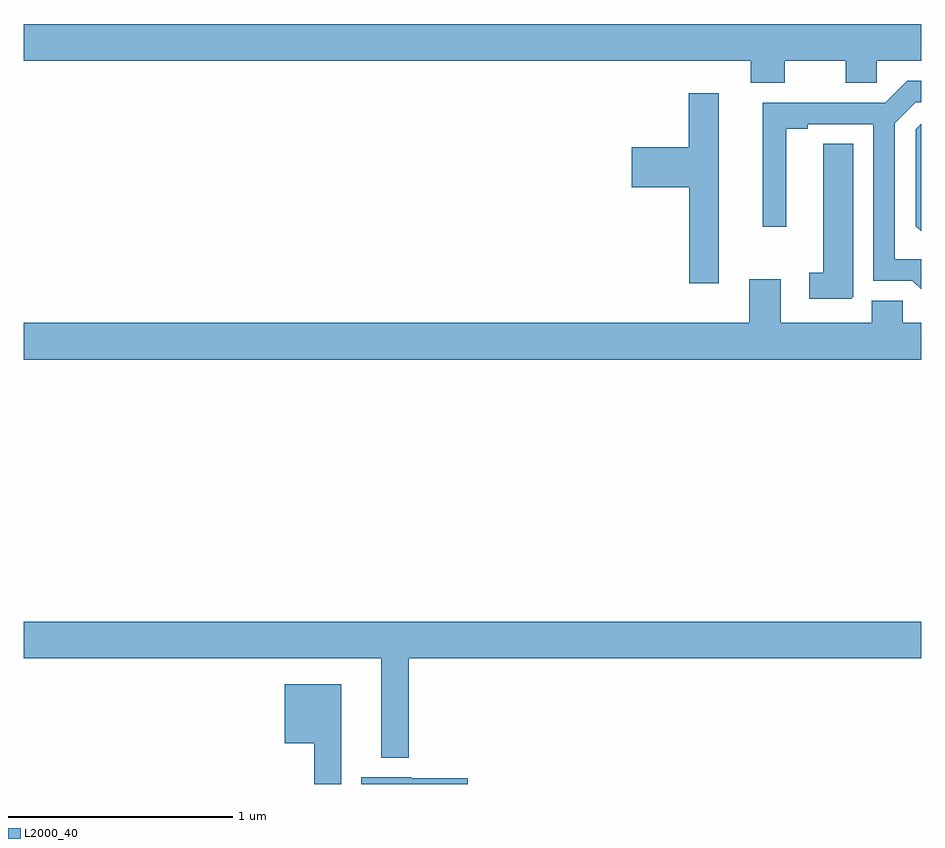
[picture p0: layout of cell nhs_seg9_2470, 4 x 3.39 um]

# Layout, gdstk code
import gdstk
lib = gdstk.Library(unit=1e-6, precision=1e-09)
def P(c, l, *ps):  # polygons
    for p in ps: c.add(gdstk.Polygon(p, *l))
L2000_40 = (2000, 40)

nhs_seg9_2470 = lib.new_cell('nhs_seg9_2470')
P(nhs_seg9_2470, L2000_40, [(254.392,1225.724),(254.663,1225.724),(254.663,1225.626),(254.802,1225.626),(254.802,1225.724),(255,1225.724),(255,1225.888),(251,1225.888),(251,1225.724),(254.24,1225.724),(254.24,1225.625),(254.392,1225.625)],
  [(255,1224.839),(254.883,1224.839),(254.883,1225.446),(254.976,1225.539),(255,1225.539),(255,1225.635),(254.939,1225.635),(254.84,1225.536),(254.294,1225.536),(254.294,1224.984),(254.398,1224.984),(254.398,1225.42),(254.494,1225.42),(254.494,1225.44),(254.787,1225.44),(254.787,1224.744),(254.961,1224.744),(255,1224.705)],
  [(254.098,1225.579),(253.964,1225.579),(253.964,1225.338),(253.71,1225.338),(253.71,1225.16),(253.967,1225.16),(253.967,1224.732),(254.098,1224.732)],
  [(255,1225.443),(254.976,1225.419),(254.976,1224.987),(255,1224.963)],
  [(254.698,1224.673),(254.698,1225.355),(254.564,1225.355),(254.564,1224.779),(254.502,1224.779),(254.502,1224.663),(254.688,1224.663)],
  [(255,1224.556),(254.919,1224.556),(254.919,1224.654),(254.78,1224.654),(254.78,1224.556),(254.374,1224.556),(254.374,1224.751),(254.234,1224.751),(254.234,1224.556),(251,1224.556),(251,1224.392),(255,1224.392)],
  [(252.715,1223.06),(255,1223.06),(255,1223.224),(251,1223.224),(251,1223.06),(252.593,1223.06),(252.593,1222.616),(252.715,1222.616)],
  [(252.415,1222.945),(252.164,1222.945),(252.164,1222.682),(252.294,1222.682),(252.294,1222.5),(252.415,1222.5)],
  [(252.979,1222.526),(252.726,1222.526),(252.726,1222.531),(252.503,1222.531),(252.503,1222.5),(252.979,1222.5)])

lib.write_gds('nhs_seg9_2470.gds')
